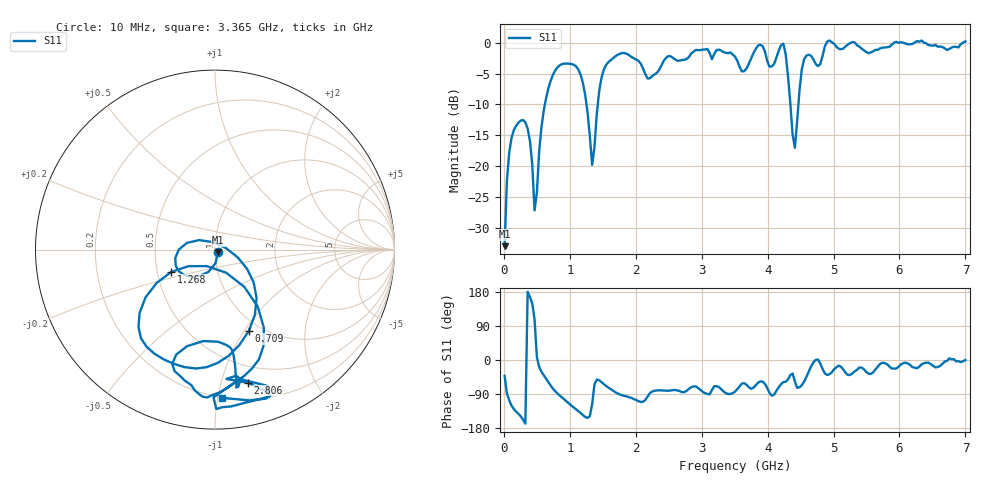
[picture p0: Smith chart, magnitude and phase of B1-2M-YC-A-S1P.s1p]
!File created by NanoVNA
# Hz S RI R 50
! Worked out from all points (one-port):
!   201 points, 10 MHz to 7 GHz, reference 50 ohm
!   lowest |S11| = -32.9 dB at 10 MHz (marker M1), VSWR 1.05, Z = 51.7 - j1.57 ohm
!   |S11| at or under -10 dB: start of sweep to 621.2 MHz; 1.252 GHz to 1.423 GHz (171.5 MHz wide, 12.8 % of centre); 4.346 GHz to 4.467 GHz (121.6 MHz wide, 2.76 % of centre)
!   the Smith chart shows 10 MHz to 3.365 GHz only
!   S11 on the Smith chart (normalised r, x): 10 MHz: 1.03, -0.03; 709 MHz: 0.88, -1.05; 1.268 GHz: 0.59, -0.16; 2.806 GHz: 0.34, -1.22; 3.365 GHz: 0.20, -1.03
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1e7  0.0168 -0.0151
1.1485e8  -0.0853 -0.1463
3.595e8  -0.2018 0.000287
4.6435e8  -0.0129 0.0421
7.09e8  0.1883 -0.4533
8.8375e8  -0.1062 -0.6625
1.2682e9  -0.2432 -0.124
1.3381e9  -0.0458 -0.092
1.4779e9  0.2722 -0.436
1.7575e9  -0.0152 -0.8103
2.07205e9  -0.2382 -0.6363
2.63125e9  0.1179 -0.7024
2.806e9  0.1815 -0.7411
3.3652e9  0.0364 -0.8264
3.505e9  0.0855 -0.7653
3.6448e9  0.2834 -0.5148
3.88945e9  0.5301 -0.8004
4.0642e9  -0.048 -0.6412
4.23895e9  0.5144 -0.8337
4.37875e9  0.1466 -0.1051
4.58845e9  0.5593 -0.551
4.7632e9  0.6451 0.0157
4.903e9  0.7845 -0.6491
5.07775e9  0.8625 -0.2295
5.2525e9  0.7694 -0.626
6.12625e9  0.9569 -0.1547
6.26605e9  0.9544 -0.3809
7e9  1.023 0.000718
